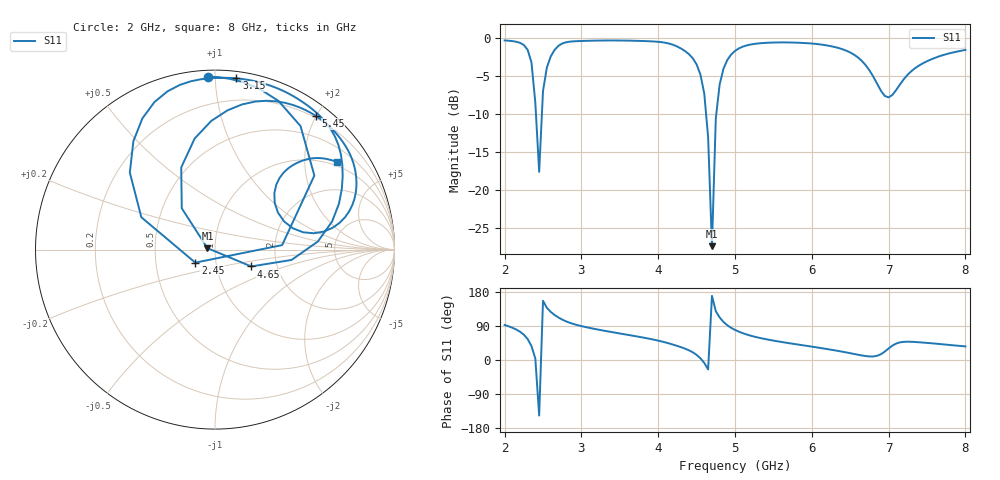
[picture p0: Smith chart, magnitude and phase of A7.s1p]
! Generated by Hertzon (EMerge FEM)
# HZ S RI R 50
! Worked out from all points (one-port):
!   121 points, 2 GHz to 8 GHz, reference 50 ohm
!   lowest |S11| = -27.4 dB at 4.7 GHz (marker M1), VSWR 1.09, Z = 46 + j0.73 ohm
!   |S11| at or under -10 dB: 2.408 GHz to 2.486 GHz (77.63 MHz wide, 3.17 % of centre); 4.623 GHz to 4.757 GHz (133.2 MHz wide, 2.84 % of centre)
!   S11 on the Smith chart (normalised r, x): 2 GHz: 0.03, +0.96; 2.45 GHz: 0.79, -0.12; 3.15 GHz: 0.04, +1.13; 4.65 GHz: 1.47, -0.29; 5.45 GHz: 0.17, +1.99; 8 GHz: 0.88, +2.85
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2e9  -0.0404 0.9638
2.25e9  0.3539 0.8282
2.35e9  0.5536 0.4128
2.4e9  0.3742 0.0251
2.45e9  -0.1098 -0.0726
2.5e9  -0.4103 0.1801
2.55e9  -0.4745 0.4289
2.65e9  -0.4046 0.731
2.75e9  -0.2643 0.882
3.15e9  0.1187 0.9542
3.5e9  0.3295 0.9057
3.95e9  0.5665 0.7616
4.25e9  0.7018 0.5287
4.5e9  0.6526 0.157
4.6e9  0.4265 -0.0576
4.65e9  0.2019 -0.0938
4.7e9  -0.0419 0.00792
4.75e9  -0.1852 0.2304
4.8e9  -0.1881 0.4577
4.9e9  -0.0203 0.7173
5e9  0.1515 0.809
5.45e9  0.5607 0.7456
5.75e9  0.6838 0.6369
6.5e9  0.765 0.2479
6.85e9  0.4918 0.0963
7e9  0.3507 0.206
7.25e9  0.3825 0.4293
8e9  0.6774 0.4897
